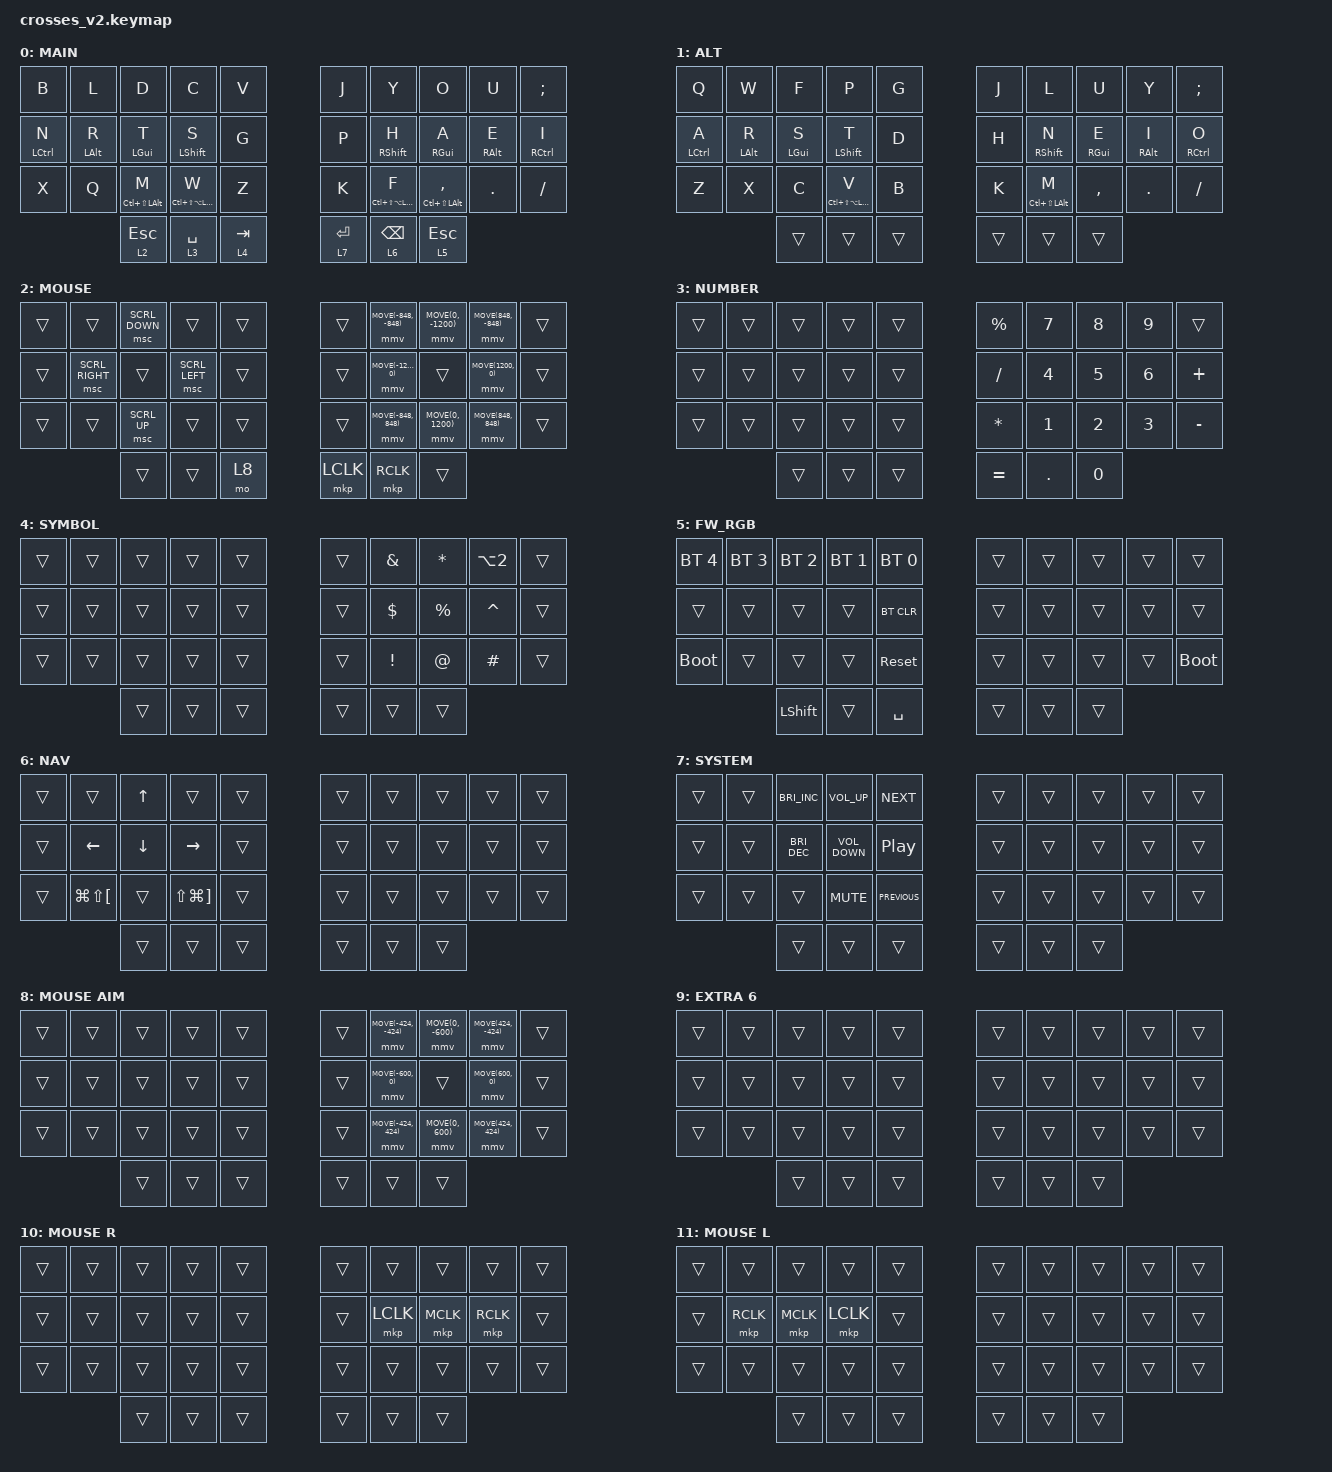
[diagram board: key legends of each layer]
/*
 * Copyright (c) 2020 The ZMK Contributors
 *
 * SPDX-License-Identifier: MIT
 */

#include <behaviors.dtsi>
#include <dt-bindings/zmk/bt.h>
#include <dt-bindings/zmk/keys.h>
#include <dt-bindings/zmk/pointing.h>

/ {
    layer_signal {
        compatible = "zmk,layer-signal";
        heartbeat-ms = <2000>;
        positions;
    };

    chosen { zmk,physical-layout = &gggw_crosses_36_layout; };
};

/ {
    behaviors {
        hml: home_row_mod_left {
            compatible = "zmk,behavior-hold-tap";
            #binding-cells = <2>;
            flavor = "balanced";
            tapping-term-ms = <280>;
            quick-tap-ms = <175>;
            require-prior-idle-ms = <150>;
            bindings = <&kp>, <&kp>;

            hold-trigger-key-positions = <
                 5  6  7  8  9
                15 16 17 18 19
                25 26 27 28 29
                33 34 35
            >;

            hold-trigger-on-release;
        };

        hmr: home_row_mod_right {
            compatible = "zmk,behavior-hold-tap";
            #binding-cells = <2>;
            flavor = "balanced";
            tapping-term-ms = <280>;
            quick-tap-ms = <175>;
            require-prior-idle-ms = <150>;
            bindings = <&kp>, <&kp>;

            hold-trigger-key-positions = <
                 0  1  2  3  4
                10 11 12 13 14
                20 21 22 23 24
                       30 31 32
            >;

            hold-trigger-on-release;
        };
    };

    combos {
        compatible = "zmk,combos";

        // Brackets: [ ]

        lbracket {
            bindings = <&kp LEFT_BRACKET>;
            key-positions = <2 3>;
        };

        rbracket {
            bindings = <&kp RIGHT_BRACKET>;
            key-positions = <7 6>;
        };

        // Braces: { }

        lbrace {
            bindings = <&kp LEFT_BRACE>;
            key-positions = <4 3>;
        };

        rbrace {
            bindings = <&kp RIGHT_BRACE>;
            key-positions = <5 6>;
        };

        // Parentheses: ( )

        lparens {
            bindings = <&kp LEFT_PARENTHESIS>;
            key-positions = <1 2>;
        };

        rparens {
            bindings = <&kp RIGHT_PARENTHESIS>;
            key-positions = <7 8>;
        };

        // Other symbols

        backslash {
            bindings = <&kp BACKSLASH>;
            key-positions = <9 8>;
        };

        quote {
            bindings = <&kp SQT>;
            key-positions = <19 18>;
        };

        equals {
            bindings = <&kp EQUAL>;
            key-positions = <29 28>;
        };

        minus {
            bindings = <&kp MINUS>;
            key-positions = <10 11>;
        };

        grave {
            bindings = <&kp GRAVE>;
            key-positions = <20 21>;
        };

        // Caps word

        capsword {
            bindings = <&caps_word>;
            key-positions = <0 1>;
        };

        // Layer switching: MAIN <-> ALT

        to_colemak {
            bindings = <&to 1>;
            key-positions = <30 35>;
            layers = <0>;
        };

        to_base {
            bindings = <&to 0>;
            key-positions = <35 30>;
            layers = <1>;
        };
    };

    keymap {
        compatible = "zmk,keymap";

        // Layer 0
        main_layer {
            display-name = "MAIN";
            bindings = <
                &kp B         &kp L        &kp D                &kp C                    &kp V                       &kp J        &kp Y                    &kp O                    &kp U        &kp SEMICOLON
                &hml LCTRL N  &hml LALT R  &hml LGUI T          &hml LSHFT S             &kp G                       &kp P        &hmr RSHFT H             &hmr RGUI A              &hmr RALT E  &hmr RCTRL I
                &kp X         &kp Q        &hml LC(LS(LALT)) M  &hml LC(LS(LA(LGUI))) W  &kp Z                       &kp K        &hmr LC(LS(LA(LGUI))) F  &hmr LC(LS(LALT)) COMMA  &kp PERIOD   &kp SLASH
                                                                &lt 2 ESCAPE             &lt 3 SPACE  &lt 4 TAB      &lt 7 ENTER  &lt 6 BACKSPACE          &lt 5 ESCAPE
            >;
        };

        // Layer 1
        alt_layer {
            display-name = "ALT";
            bindings = <
                &kp Q         &kp W        &kp F        &kp P                    &kp G     &kp J   &kp L                &kp U        &kp Y        &kp SEMICOLON
                &hml LCTRL A  &hml LALT R  &hml LGUI S  &hml LSHFT T             &kp D     &kp H   &hmr RSHFT N         &hmr RGUI E  &hmr RALT I  &hmr RCTRL O
                &kp Z         &kp X        &kp C        &hml LC(LS(LA(LGUI))) V  &kp B     &kp K   &hmr LC(LS(LALT)) M  &kp COMMA    &kp PERIOD   &kp SLASH
                                           &trans       &trans                   &trans    &trans  &trans               &trans
            >;
        };

        // Layer 2
        mouse_layer {
            display-name = "MOUSE";
            bindings = <
                &trans  &trans           &msc SCRL_DOWN  &trans          &trans    &trans     &mmv MOVE(-848, -848)  &mmv MOVE(0, -1200)  &mmv MOVE(848, -848)  &trans
                &trans  &msc SCRL_RIGHT  &trans          &msc SCRL_LEFT  &trans    &trans     &mmv MOVE(-1200, 0)    &trans               &mmv MOVE(1200, 0)    &trans
                &trans  &trans           &msc SCRL_UP    &trans          &trans    &trans     &mmv MOVE(-848, 848)   &mmv MOVE(0, 1200)   &mmv MOVE(848, 848)   &trans
                                         &trans          &trans          &mo 8     &mkp LCLK  &mkp RCLK              &trans
            >;
        };

        // Layer 3
        number_layer {
            display-name = "NUMBER";
            bindings = <
                &trans  &trans  &trans  &trans  &trans              &kp PERCENT  &kp N7      &kp N8  &kp N9  &trans
                &trans  &trans  &trans  &trans  &trans              &kp SLASH    &kp N4      &kp N5  &kp N6  &kp PLUS
                &trans  &trans  &trans  &trans  &trans              &kp ASTRK    &kp N1      &kp N2  &kp N3  &kp MINUS
                                        &trans  &trans  &trans      &kp EQUAL    &kp PERIOD  &kp N0
            >;
        };

        // Layer 4
        symbol_layer {
            display-name = "SYMBOL";
            bindings = <
                &trans  &trans  &trans  &trans  &trans    &trans  &kp AMPERSAND    &kp ASTERISK  &kp LA(NUMBER_2)  &trans
                &trans  &trans  &trans  &trans  &trans    &trans  &kp DOLLAR       &kp PERCENT   &kp CARET         &trans
                &trans  &trans  &trans  &trans  &trans    &trans  &kp EXCLAMATION  &kp AT_SIGN   &kp HASH          &trans
                                &trans  &trans  &trans    &trans  &trans           &trans
            >;
        };

        // Layer 5
        fw_rgb_layer {
            display-name = "FW_RGB";
            bindings = <
                &bt BT_SEL 4  &bt BT_SEL 3  &bt BT_SEL 2  &bt BT_SEL 1  &bt BT_SEL 0    &trans  &trans  &trans  &trans  &trans
                &trans        &trans        &trans        &trans        &bt BT_CLR      &trans  &trans  &trans  &trans  &trans
                &bootloader   &trans        &trans        &trans        &sys_reset      &trans  &trans  &trans  &trans  &bootloader
                                            &kp LSHFT     &trans        &kp SPACE       &trans  &trans  &trans
            >;
        };

        // Layer 6
        nav_layer {
            display-name = "NAV";
            bindings = <
                &trans  &trans                    &kp UP_ARROW    &trans                     &trans    &trans  &trans  &trans  &trans  &trans
                &trans  &kp LEFT                  &kp DOWN_ARROW  &kp RIGHT                  &trans    &trans  &trans  &trans  &trans  &trans
                &trans  &kp LG(LS(LEFT_BRACKET))  &trans          &kp LS(LG(RIGHT_BRACKET))  &trans    &trans  &trans  &trans  &trans  &trans
                                                  &trans          &trans                     &trans    &trans  &trans  &trans
            >;
        };

        // Layer 7
        system_layer {
            display-name = "SYSTEM";
            bindings = <
                &trans  &trans  &kp C_BRIGHTNESS_INC  &kp C_VOLUME_UP    &kp C_NEXT          &trans  &trans  &trans  &trans  &trans
                &trans  &trans  &kp C_BRIGHTNESS_DEC  &kp C_VOLUME_DOWN  &kp C_PLAY_PAUSE    &trans  &trans  &trans  &trans  &trans
                &trans  &trans  &trans                &kp C_MUTE         &kp C_PREVIOUS      &trans  &trans  &trans  &trans  &trans
                                &trans                &trans             &trans              &trans  &trans  &trans
            >;
        };

        // Layer 8
        mouse_aim_layer {
            display-name = "MOUSE AIM";
            bindings = <
                &trans  &trans  &trans  &trans  &trans    &trans  &mmv MOVE(-424, -424)  &mmv MOVE(0, -600)  &mmv MOVE(424, -424)  &trans
                &trans  &trans  &trans  &trans  &trans    &trans  &mmv MOVE(-600, 0)     &trans              &mmv MOVE(600, 0)     &trans
                &trans  &trans  &trans  &trans  &trans    &trans  &mmv MOVE(-424, 424)   &mmv MOVE(0, 600)   &mmv MOVE(424, 424)   &trans
                                &trans  &trans  &trans    &trans  &trans                 &trans
            >;
        };

        // Layer 9
        extra_layer_6 {
            display-name = "EXTRA 6";
            bindings = <
                &trans  &trans  &trans  &trans  &trans    &trans  &trans  &trans  &trans  &trans
                &trans  &trans  &trans  &trans  &trans    &trans  &trans  &trans  &trans  &trans
                &trans  &trans  &trans  &trans  &trans    &trans  &trans  &trans  &trans  &trans
                                &trans  &trans  &trans    &trans  &trans  &trans
            >;
        };

        // Layer 10: turned on by the right trackball (see MOUSE_RIGHT_LAYER below)
        mouse_right_layer {
            display-name = "MOUSE R";
            bindings = <
                &trans  &trans  &trans  &trans  &trans              &trans  &trans     &trans     &trans     &trans
                &trans  &trans  &trans  &trans  &trans              &trans  &mkp LCLK  &mkp MCLK  &mkp RCLK  &trans
                &trans  &trans  &trans  &trans  &trans              &trans  &trans     &trans     &trans     &trans
                                        &trans  &trans  &trans      &trans  &trans     &trans
            >;
        };

        // Layer 11: turned on by the left trackball (see MOUSE_LEFT_LAYER below)
        mouse_left_layer {
            display-name = "MOUSE L";
            bindings = <
                &trans  &trans     &trans     &trans     &trans              &trans  &trans  &trans  &trans  &trans
                &trans  &mkp RCLK  &mkp MCLK  &mkp LCLK  &trans              &trans  &trans  &trans  &trans  &trans
                &trans  &trans     &trans     &trans     &trans              &trans  &trans  &trans  &trans  &trans
                                              &trans     &trans  &trans      &trans  &trans  &trans
            >;
        };
    };
};

// Mouse layers: moving a trackball turns on its layer, with the clicks on the
// home row of the same hand, until that ball has been still for 1 second:
//   right ball: layer 10, H, A, E are the left, middle and right click
//   left ball:  layer 11, S, T, R are the left, middle and right click
// Keys bound on a mouse layer keep it on, and so do the home row mods
// (excluded-positions), so a mod on the other hand modifies a click (S+H is
// Shift-click). Pressing any other key turns the layer off right away. To move
// a click, change only the mouse layer. Movement within 250 ms of a keystroke
// is ignored, so bumping a ball while typing doesn't turn letters into clicks.
// ZMK's zip_temp_layer can only drive one layer, hence zmk,input-processor-
// auto-layer from this repository (src/input_processor_auto_layer.c).
#define MOUSE_RIGHT_LAYER 10
#define MOUSE_LEFT_LAYER 11

/ {
    zip_auto_layer_right: zip_auto_layer_right {
        compatible = "zmk,input-processor-auto-layer";
        #input-processor-cells = <2>;
        require-prior-idle-ms = <250>;
        excluded-positions = <10 11 12 13  16 17 18 19>;
    };

    zip_auto_layer_left: zip_auto_layer_left {
        compatible = "zmk,input-processor-auto-layer";
        #input-processor-cells = <2>;
        require-prior-idle-ms = <250>;
        excluded-positions = <10 11 12 13  16 17 18 19>;
    };
};

// Trackball speed: each ball moves at 1 / *_DIV of what the sensor reports,
// on top of the CPI set in Keystage. The scalers keep remainders, so slow
// movements aren't lost. The pipelines repeat the board's own processors
// (crosses-v2-zmk-firmware crosses_v2.dts) with the scalers changed. The left
// ball's pipelines run on the left half, so changing them needs both halves
// flashed.
#define BALL_SPEED_MULT 1
#define BALL_LEFT_SPEED_DIV 2
#define BALL_RIGHT_SPEED_DIV 2
// Scroll modes divide by 8 on the board; a higher number scrolls slower.
#define BALL_LEFT_SCROLL_DIV 32

// The left ball's scroll directions are swapped from the board's: Scroll Up
// gets the Y invert that Scroll Down has there.
&zip_periph_ball {
    cursor {
        input-processors
          = <&zip_xy_scaler BALL_SPEED_MULT BALL_LEFT_SPEED_DIV>
          , <&zip_report_rate_limit 2>;
    };

    scroll_up {
        input-processors
          = <&zip_xy_transform (INPUT_TRANSFORM_Y_INVERT)>
          , <&zip_xy_to_scroll_mapper>
          , <&zip_scroll_scaler 1 BALL_LEFT_SCROLL_DIV>
          , <&zip_report_rate_limit 16>;
    };

    scroll_down {
        input-processors
          = <&zip_xy_to_scroll_mapper>
          , <&zip_scroll_scaler 1 BALL_LEFT_SCROLL_DIV>
          , <&zip_report_rate_limit 16>;
    };
};

&zip_central_ball {
    cursor {
        input-processors
          = <&zip_xy_transform (INPUT_TRANSFORM_X_INVERT | INPUT_TRANSFORM_Y_INVERT)>
          , <&zip_xy_scaler BALL_SPEED_MULT BALL_RIGHT_SPEED_DIV>
          , <&zip_report_rate_limit 4>;
    };
};

// Both listeners run on the right half (central), where layers live.
&trackball_peripheral_listener {
    input-processors = <&zip_auto_layer_left MOUSE_LEFT_LAYER 1000>;
};

&trackball_central_listener {
    input-processors = <&zip_central_ball &zip_auto_layer_right MOUSE_RIGHT_LAYER 1000>;
};
